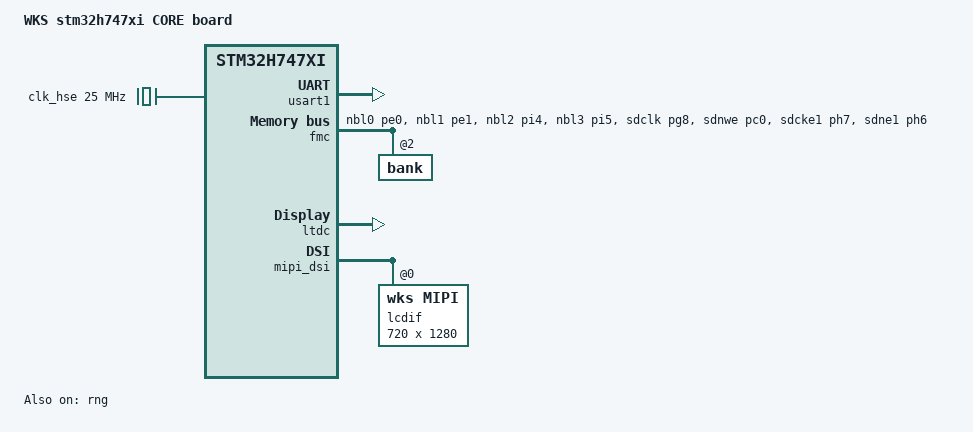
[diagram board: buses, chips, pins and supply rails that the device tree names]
/dts-v1/;
#include <st/h7/stm32h747Xi_m7.dtsi>
#include <st/h7/stm32h747xihx-pinctrl.dtsi>
#include <zephyr/dt-bindings/memory-attr/memory-attr-arm.h>
#include <zephyr/dt-bindings/mipi_dsi/mipi_dsi.h>
#include "stm32h747xi_core.dtsi"

/ {
  model = "WKS stm32h747xi CORE board";
  compatible = "wks,stm32h747xi-core";

  chosen {
    zephyr,console = &usart1;
    zephyr,shell-uart = &usart1;
    zephyr,sram = &sram0;
    zephyr,flash = &flash0;
  };

  leds {
    blue_led_1: led_1 {
      status = "okay";
    };
  };

  gpio_keys {
    wake_up: button {
      status = "okay";
    };

    key0: key_0 {
      status = "okay";
    };
  };

  alias {
    led1 = &blue_led_1;
    sw0 = &wake_up;
  };
};

&clk_hse {
	clock-frequency = <DT_FREQ_M(25)>;
	status = "okay";
};

&clk_hsi48 {
	status = "okay";
};

&pll {
  div-m = <5>;
  mul-n = <192>;
  div-p = <2>;
  div-q = <2>;
  div-r = <2>;
  clocks = <&clk_hse>;
  status = "okay";
};

&pll2 {
  div-m = <32>;
  mul-n = <129>;
  div-p = <2>;
  div-q = <2>;
  div-r = <2>;
  clocks = <&clk_hse>;
  status = "okay";
};

&pll3 {
  div-m = <32>;
  mul-n = <129>;
  div-p = <2>;
  div-q = <2>;
  div-r = <2>;
  clocks = <&clk_hse>;
  status = "okay";
};

&rcc {
	clocks = <&pll>;
	clock-frequency = <DT_FREQ_M(480)>;
};

&usart1 {
	status = "okay";
};

&flash0 {
	partitions {
		compatible = "fixed-partitions";
		#address-cells = <1>;
		#size-cells = <1>;

		/* Set 2KB of storage at the end of first 1MB flash */
		storage_partition: partition@ff800 {
			label = "storage";
			reg = <0x000ff800 DT_SIZE_K(2)>;
		};
	};
};

&rng {
	status = "okay";
};

&fmc {
	status = "okay";
	pinctrl-0 = <&fmc_nbl0_pe0 &fmc_nbl1_pe1 &fmc_nbl2_pi4 &fmc_nbl3_pi5
		     &fmc_sdclk_pg8 &fmc_sdnwe_pc0 &fmc_sdcke1_ph7
		     &fmc_sdne1_ph6 &fmc_sdnras_pf11 &fmc_sdncas_pg15
		     &fmc_a0_pf0 &fmc_a1_pf1 &fmc_a2_pf2 &fmc_a3_pf3 &fmc_a4_pf4
		     &fmc_a5_pf5 &fmc_a6_pf12 &fmc_a7_pf13 &fmc_a8_pf14
		     &fmc_a9_pf15 &fmc_a10_pg0 &fmc_a11_pg1 &fmc_a12_pg2
		     &fmc_a14_pg4 &fmc_a15_pg5 &fmc_d0_pd14 &fmc_d1_pd15
		     &fmc_d2_pd0 &fmc_d3_pd1 &fmc_d4_pe7 &fmc_d5_pe8 &fmc_d6_pe9
		     &fmc_d7_pe10 &fmc_d8_pe11 &fmc_d9_pe12 &fmc_d10_pe13
		     &fmc_d11_pe14 &fmc_d12_pe15 &fmc_d13_pd8 &fmc_d14_pd9
		     &fmc_d15_pd10 &fmc_d16_ph8 &fmc_d17_ph9 &fmc_d18_ph10
		     &fmc_d19_ph11 &fmc_d20_ph12 &fmc_d21_ph13 &fmc_d22_ph14
		     &fmc_d23_ph15 &fmc_d24_pi0 &fmc_d25_pi1 &fmc_d26_pi2
		     &fmc_d27_pi3 &fmc_d28_pi6 &fmc_d29_pi7 &fmc_d30_pi9
		     &fmc_d31_pi10>;
	pinctrl-names = "default";

	sdram {
		status = "okay";

		power-up-delay = <100>;
		num-auto-refresh = <8>;
		mode-register = <0x220>;
		refresh-rate = <603>;

		bank@2 {
			reg = <2>;

			st,sdram-control = <STM32_FMC_SDRAM_NC_9
					    STM32_FMC_SDRAM_NR_12
					    STM32_FMC_SDRAM_MWID_32
					    STM32_FMC_SDRAM_NB_4
					    STM32_FMC_SDRAM_CAS_2
					    STM32_FMC_SDRAM_SDCLK_PERIOD_2
					    STM32_FMC_SDRAM_RBURST_ENABLE
					    STM32_FMC_SDRAM_RPIPE_0>;
			st,sdram-timing = <2 8 6 8 2 3 3>;
		};
	};
};

&ltdc {
	bl-ctrl-gpios = <&gpiob 0 GPIO_ACTIVE_HIGH>;
	pixel-format = <MIPI_DSI_PIXFMT_RGB888>;
	width = <720>;
	height = <1280>;
	// data-lanes = <2>;
	display-controller = <&lcdif>;
	status = "okay";

};

&mipi_dsi {
	// reg = <0>;
	// phy-timings =
	pll-idf = <1>;
	pll-odf = <1>;
	pll-ndiv = <28>;
	// data-lanes = <2>;
	lcdif:wks@0 {
		reg = <0>;
		compatible = "wks,mipi";
		data-lanes = <2>;
		// display-controller = <&ltdc>;
		width = <720>;
		height = <1280>;
		pixel-format = <MIPI_DSI_PIXFMT_RGB888>;
		status = "okay";
	};
	status = "okay";
};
